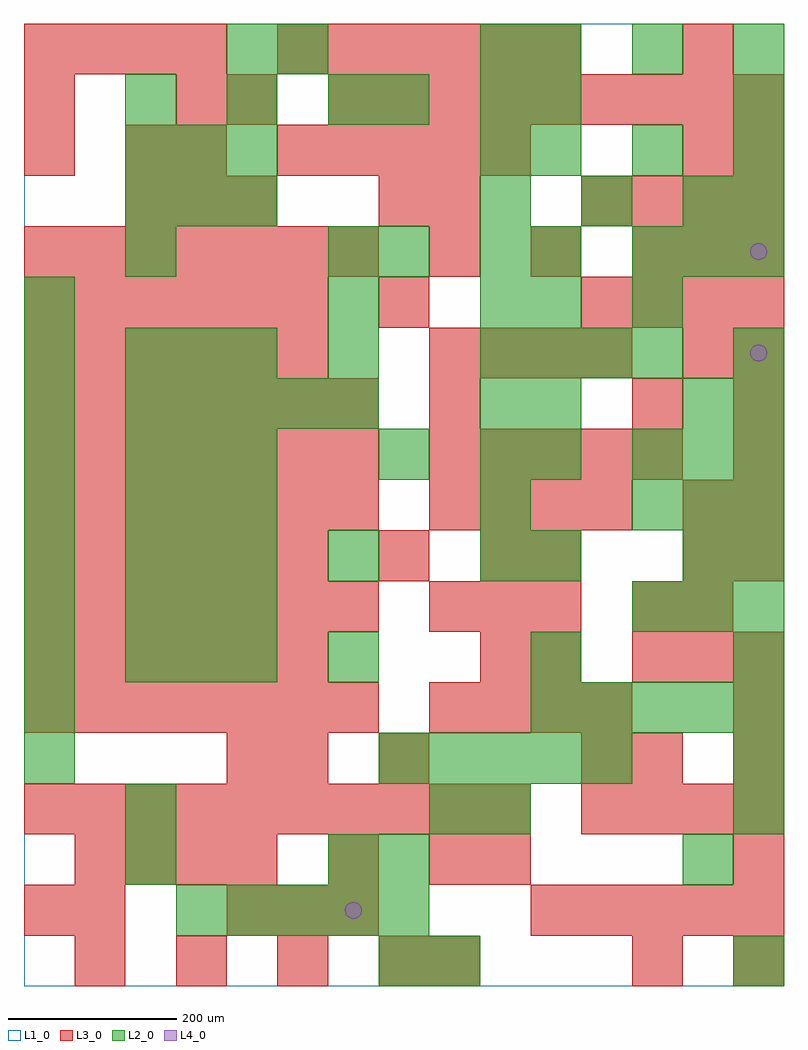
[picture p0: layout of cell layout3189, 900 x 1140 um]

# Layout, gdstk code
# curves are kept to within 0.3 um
import gdstk
lib = gdstk.Library(unit=1e-6, precision=1e-09)
def R(c, l, rs):  # rectangles x0, y0, x1, y1
    for r in rs: c.add(gdstk.rectangle(r[:2], r[2:], *l))
def A(c, l, x, y, w, h, nx, ny, dx, dy):  # array of equal rectangles
    R(c, l, [(x+i*dx, y+j*dy, x+i*dx+w, y+j*dy+h) for i in range(nx) for j in range(ny)])
def P(c, l, *ps):  # polygons
    for p in ps: c.add(gdstk.Polygon(p, *l))
L1_0 = (1, 0)
L2_0 = (2, 0)
L3_0 = (3, 0)
L4_0 = (4, 0)

layout3189 = lib.new_cell('layout3189')
R(layout3189, L1_0, [(0,0,900,1140)])
A(layout3189, L2_0, 180, 60, 60, 60, 5, 1, 60, 0)
A(layout3189, L2_0, 0, 240, 60, 60, 1, 10, 0, 60)
A(layout3189, L2_0, 420, 240, 60, 60, 5, 1, 60, 0)
A(layout3189, L2_0, 600, 300, 60, 60, 5, 1, 60, 0)
A(layout3189, L2_0, 120, 360, 60, 60, 3, 5, 60, 60)
A(layout3189, L2_0, 360, 360, 60, 60, 3, 1, 240, 0)
A(layout3189, L2_0, 720, 420, 60, 60, 3, 2, 60, 120)
A(layout3189, L2_0, 540, 480, 60, 60, 1, 4, 0, 60)
A(layout3189, L2_0, 720, 600, 60, 60, 3, 2, 60, 240)
A(layout3189, L2_0, 120, 660, 60, 60, 5, 1, 60, 0)
A(layout3189, L2_0, 120, 720, 60, 60, 3, 2, 60, 180)
A(layout3189, L2_0, 360, 720, 60, 60, 1, 3, 0, 60)
A(layout3189, L2_0, 540, 720, 60, 60, 4, 1, 60, 0)
A(layout3189, L2_0, 540, 900, 60, 60, 3, 1, 120, 0)
A(layout3189, L2_0, 120, 960, 60, 60, 3, 1, 60, 0)
A(layout3189, L2_0, 540, 960, 60, 60, 1, 3, 0, 60)
A(layout3189, L2_0, 600, 960, 60, 60, 3, 2, 120, 120)
A(layout3189, L2_0, 120, 1020, 60, 60, 3, 1, 120, 0)
R(layout3189, L2_0, [(420,0,480,60), (480,0,540,60), (840,0,900,60), (120,120,180,180), (360,120,420,180), (420,120,480,180), (780,120,840,180), (120,180,180,240), (480,180,540,240), (540,180,600,240), (840,180,900,240), (840,240,900,300), (360,480,420,540), (600,480,660,540), (780,480,840,540), (840,480,900,540), (420,600,480,660), (600,600,660,660), (600,660,660,720), (780,660,840,720), (840,660,900,720), (840,720,900,780), (540,780,600,840), (600,780,660,840), (720,780,780,840), (120,840,180,900), (420,840,480,900), (540,840,600,900), (600,840,660,900), (840,900,900,960), (420,1020,480,1080), (600,1020,660,1080), (840,1020,900,1080), (240,1080,300,1140), (300,1080,360,1140)])
A(layout3189, L3_0, 60, 0, 60, 60, 4, 1, 120, 0)
A(layout3189, L3_0, 840, 0, 60, 60, 1, 3, 0, 120)
A(layout3189, L3_0, 240, 60, 60, 60, 3, 1, 60, 0)
A(layout3189, L3_0, 600, 60, 60, 60, 5, 1, 60, 0)
A(layout3189, L3_0, 60, 120, 60, 60, 4, 1, 60, 0)
A(layout3189, L3_0, 0, 180, 60, 60, 10, 1, 60, 0)
A(layout3189, L3_0, 660, 180, 60, 60, 4, 2, 60, 600)
A(layout3189, L3_0, 0, 300, 60, 60, 7, 3, 60, 120)
A(layout3189, L3_0, 480, 300, 60, 60, 4, 2, 60, 240)
A(layout3189, L3_0, 0, 360, 60, 60, 6, 2, 60, 120)
A(layout3189, L3_0, 720, 360, 60, 60, 3, 1, 60, 0)
A(layout3189, L3_0, 480, 420, 60, 60, 3, 1, 60, 0)
A(layout3189, L3_0, 780, 420, 60, 60, 1, 3, 0, 60)
A(layout3189, L3_0, 840, 480, 60, 60, 1, 5, 0, 60)
A(layout3189, L3_0, 0, 600, 60, 60, 7, 2, 60, 60)
A(layout3189, L3_0, 480, 600, 60, 60, 5, 1, 60, 0)
A(layout3189, L3_0, 0, 720, 60, 60, 6, 2, 60, 60)
A(layout3189, L3_0, 480, 720, 60, 60, 4, 1, 60, 0)
A(layout3189, L3_0, 780, 720, 60, 60, 1, 4, 0, 120)
A(layout3189, L3_0, 0, 840, 60, 60, 7, 1, 60, 0)
A(layout3189, L3_0, 480, 840, 60, 60, 3, 1, 120, 0)
A(layout3189, L3_0, 120, 900, 60, 60, 3, 1, 60, 0)
A(layout3189, L3_0, 660, 900, 60, 60, 4, 1, 60, 0)
A(layout3189, L3_0, 300, 960, 60, 60, 5, 1, 60, 0)
A(layout3189, L3_0, 360, 1020, 60, 60, 9, 1, 60, 0)
A(layout3189, L3_0, 0, 1080, 60, 60, 4, 1, 60, 0)
A(layout3189, L3_0, 300, 1080, 60, 60, 6, 1, 60, 0)
R(layout3189, L3_0, [(480,0,540,60), (720,0,780,60), (0,60,60,120), (60,60,120,120), (360,120,420,180), (480,120,540,180), (540,120,600,180), (240,240,300,300), (300,240,360,300), (420,240,480,300), (660,240,720,300), (720,240,780,300), (840,300,900,360), (540,360,600,420), (600,360,660,420), (720,420,780,480), (420,480,480,540), (540,480,600,540), (600,480,660,540), (480,660,540,720), (720,660,780,720), (420,780,480,840), (840,840,900,900), (420,900,480,960), (480,900,540,960), (0,960,60,1020), (120,960,180,1020), (180,960,240,1020), (840,960,900,1020), (0,1020,60,1080), (180,1020,240,1080), (240,1020,300,1080)])
P(layout3189, L4_0, [(400,90),(399.239,93.827),(397.071,97.071),(393.827,99.239),(390,100),(386.173,99.239),(382.929,97.071),(380.761,93.827),(380,90),(380.761,86.173),(382.929,82.929),(386.173,80.761),(390,80),(393.827,80.761),(397.071,82.929),(399.239,86.173)],
  [(880,750),(879.239,753.827),(877.071,757.071),(873.827,759.239),(870,760),(866.173,759.239),(862.929,757.071),(860.761,753.827),(860,750),(860.761,746.173),(862.929,742.929),(866.173,740.761),(870,740),(873.827,740.761),(877.071,742.929),(879.239,746.173)],
  [(880,870),(879.239,873.827),(877.071,877.071),(873.827,879.239),(870,880),(866.173,879.239),(862.929,877.071),(860.761,873.827),(860,870),(860.761,866.173),(862.929,862.929),(866.173,860.761),(870,860),(873.827,860.761),(877.071,862.929),(879.239,866.173)])

lib.write_gds('layout3189.gds')
